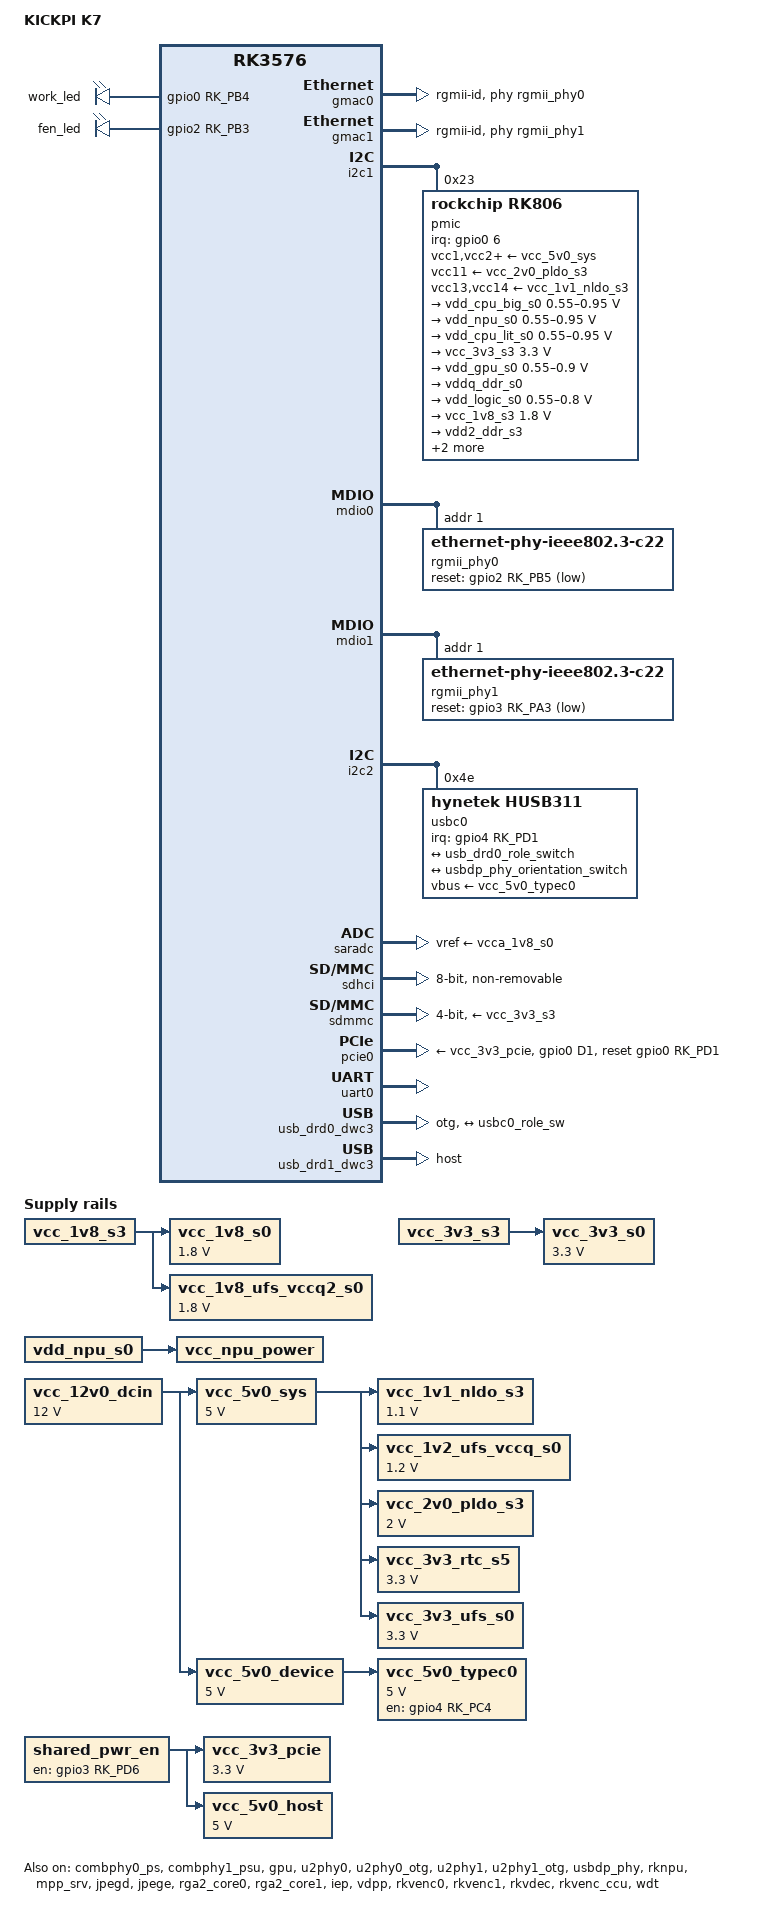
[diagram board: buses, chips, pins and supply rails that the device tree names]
// SPDX-License-Identifier: (GPL-2.0+ OR MIT)
/*
 * Copyright (c) 2024 Rockchip Electronics Co., Ltd.
 *
 */

/dts-v1/;

#include <dt-bindings/gpio/gpio.h>
#include <dt-bindings/leds/common.h>
#include <dt-bindings/pinctrl/rockchip.h>
#include <dt-bindings/pwm/pwm.h>
#include <dt-bindings/soc/rockchip,vop2.h>
#include <dt-bindings/usb/pd.h>
#include "rk3576.dtsi"
#include "rk3576-vpu-npu.dtsi"

/ {
	model = "KICKPI K7";
	compatible = "kickpi,k7", "rockchip,rk3576";

	aliases {
		ethernet0 = &gmac0;
		ethernet1 = &gmac1;
	};

	chosen {
		stdout-path = "serial0:1500000n8";
	};

	leds: leds {
		compatible = "gpio-leds";

		work_led: work-led {
			gpios = <&gpio0 RK_PB4 GPIO_ACTIVE_HIGH>;
			linux,default-trigger = "heartbeat";
		};

		fen_led: fen-led {
			gpios = <&gpio2 RK_PB3 GPIO_ACTIVE_HIGH>;
			default-state = "on";
		};
	};
	
	/* reserved-memory {
		#address-cells = <2>;
		#size-cells = <2>;
		ranges;
		ramoops: ramoops@40118000 {
		    compatible = "ramoops";
		    reg = <0 0x40118000 0 0xd8000>;
		    console-size = <0x80000>;
		    ftrace-size = <0x00000>;
		    pmsg-size = <0x30000>;
            record-size = <0x14000>;
		};
	}; */

	vcc_12v0_dcin: regulator-vcc-12v0-dcin {
		compatible = "regulator-fixed";
		regulator-name = "vcc_12v0_dcin";
		regulator-always-on;
		regulator-boot-on;
		regulator-min-microvolt = <12000000>;
		regulator-max-microvolt = <12000000>;
	};

	vcc_1v1_nldo_s3: regulator-vcc-1v1-nldo-s3 {
		compatible = "regulator-fixed";
		regulator-name = "vcc_1v1_nldo_s3";
		regulator-boot-on;
		regulator-always-on;
		regulator-min-microvolt = <1100000>;
		regulator-max-microvolt = <1100000>;
		vin-supply = <&vcc_5v0_sys>;
	};

	vcc_1v2_ufs_vccq_s0: regulator-vcc-1v2-ufs-vccq-s0 {
		compatible = "regulator-fixed";
		regulator-name = "vcc_1v2_ufs_vccq_s0";
		regulator-boot-on;
		regulator-always-on;
		regulator-min-microvolt = <1200000>;
		regulator-max-microvolt = <1200000>;
		vin-supply = <&vcc_5v0_sys>;
	};

	vcc_1v8_s0: regulator-vcc-1v8-s0 {
		compatible = "regulator-fixed";
		regulator-name = "vcc_1v8_s0";
		regulator-boot-on;
		regulator-always-on;
		regulator-min-microvolt = <1800000>;
		regulator-max-microvolt = <1800000>;
		vin-supply = <&vcc_1v8_s3>;
	};

	vcc_1v8_ufs_vccq2_s0: regulator-vcc-1v8-ufs-vccq2-s0 {
		compatible = "regulator-fixed";
		regulator-name = "vcc_1v8_ufs_vccq2_s0";
		regulator-boot-on;
		regulator-always-on;
		regulator-min-microvolt = <1800000>;
		regulator-max-microvolt = <1800000>;
		vin-supply = <&vcc_1v8_s3>;
	};

	vcc_2v0_pldo_s3: regulator-vcc-2v0-pldo-s3 {
		compatible = "regulator-fixed";
		regulator-name = "vcc_2v0_pldo_s3";
		regulator-boot-on;
		regulator-always-on;
		regulator-min-microvolt = <2000000>;
		regulator-max-microvolt = <2000000>;
		vin-supply = <&vcc_5v0_sys>;
	};
	
	vcc_3v3_pcie: regulator-vcc-3v3-pcie {
		compatible = "regulator-fixed";
		regulator-name = "vcc_3v3_pcie";
		regulator-always-on;
		regulator-boot-on;
		regulator-min-microvolt = <3300000>;
		regulator-max-microvolt = <3300000>;
		startup-delay-us = <10000>;
		vin-supply = <&shared_pwr_en>;
	};

	vcc_3v3_rtc_s5: regulator-vcc-3v3-rtc-s5 {
		compatible = "regulator-fixed";
		regulator-name = "vcc_3v3_rtc_s5";
		regulator-boot-on;
		regulator-always-on;
		regulator-min-microvolt = <3300000>;
		regulator-max-microvolt = <3300000>;
		vin-supply = <&vcc_5v0_sys>;
	};

	vcc_3v3_s0: regulator-vcc-3v3-s0 {
		compatible = "regulator-fixed";
		regulator-name = "vcc_3v3_s0";
		regulator-boot-on;
		regulator-always-on;
		regulator-min-microvolt = <3300000>;
		regulator-max-microvolt = <3300000>;
		vin-supply = <&vcc_3v3_s3>;
	};

	vcc_5v0_sys: regulator-vcc-5v0-sys {
		compatible = "regulator-fixed";
		regulator-name = "vcc_5v0_sys";
		regulator-always-on;
		regulator-boot-on;
		regulator-min-microvolt = <5000000>;
		regulator-max-microvolt = <5000000>;
		vin-supply = <&vcc_12v0_dcin>;
	};

	vcc_5v0_device: regulator-vcc-5v0-device {
		compatible = "regulator-fixed";
		regulator-name = "vcc_5v0_device";
		regulator-always-on;
		regulator-boot-on;
		regulator-min-microvolt = <5000000>;
		regulator-max-microvolt = <5000000>;
		vin-supply = <&vcc_12v0_dcin>;
	};

	shared_pwr_en: regulator-shared-pwr-en {
		compatible = "regulator-fixed";
	    regulator-name = "shared_pwr_en";
	    pinctrl-names = "default";
	    pinctrl-0 = <&usb_host_pwren>;
	    enable-active-high;
	    gpios = <&gpio3 RK_PD6 GPIO_ACTIVE_HIGH>;
	    regulator-always-on;
	    regulator-boot-on;
    };

	vcc_5v0_typec0: regulator-vcc-5v0-typec0 {
		compatible = "regulator-fixed";
		enable-active-high;
		gpios = <&gpio4 RK_PC4 GPIO_ACTIVE_HIGH>;
		pinctrl-names = "default";
		pinctrl-0 = <&usb_otg0_pwren>;
		regulator-name = "vcc_5v0_typec0";
		regulator-min-microvolt = <5000000>;
		regulator-max-microvolt = <5000000>;
		vin-supply = <&vcc_5v0_device>;
	};

	vcc_5v0_host: regulator-vcc-5v0-host {
		compatible = "regulator-fixed";
		regulator-name = "vcc_5v0_host";
		regulator-min-microvolt = <5000000>;
		regulator-max-microvolt = <5000000>;
		regulator-always-on;
		regulator-boot-on;
		vin-supply = <&shared_pwr_en>;
	};

	vcc_3v3_ufs_s0: regulator-vcc-ufs-s0 {
		compatible = "regulator-fixed";
		regulator-name = "vcc_3v3_ufs_s0";
		regulator-boot-on;
		regulator-always-on;
		regulator-min-microvolt = <3300000>;
		regulator-max-microvolt = <3300000>;
		vin-supply = <&vcc_5v0_sys>;
	};
	
	vcc_npu_power: regulator-vcc-npu-power {
		compatible = "regulator-fixed";
		regulator-name = "vcc_npu_power";
		regulator-boot-on;
		regulator-always-on;
		regulator-fixed-microvolt = <950000>;
		vin-supply = <&vdd_npu_s0>;
	};
};

&combphy0_ps {
	status = "okay";
};

&combphy1_psu {
	status = "okay";
};

&cpu_b0 {
	cpu-supply = <&vdd_cpu_big_s0>;
};

&cpu_b1 {
	cpu-supply = <&vdd_cpu_big_s0>;
};

&cpu_b2 {
	cpu-supply = <&vdd_cpu_big_s0>;
};

&cpu_b3 {
	cpu-supply = <&vdd_cpu_big_s0>;
};

&cpu_l0 {
	cpu-supply = <&vdd_cpu_lit_s0>;
};

&cpu_l1 {
	cpu-supply = <&vdd_cpu_lit_s0>;
};

&cpu_l2 {
	cpu-supply = <&vdd_cpu_lit_s0>;
};

&cpu_l3 {
	cpu-supply = <&vdd_cpu_lit_s0>;
};

&gmac0 {
	phy-mode = "rgmii-id";
	clock_in_out = "output";
	phy-handle = <&rgmii_phy0>;
	pinctrl-names = "default";
	pinctrl-0 = <&eth0m0_miim
		     &eth0m0_tx_bus2
		     &eth0m0_rx_bus2
		     &eth0m0_rgmii_clk
		     &eth0m0_rgmii_bus>;
	status = "okay";
};

&gmac1 {
	phy-mode = "rgmii-id";
	clock_in_out = "output";
	phy-handle = <&rgmii_phy1>;
	pinctrl-names = "default";
	pinctrl-0 = <&eth1m0_miim
		     &eth1m0_tx_bus2
		     &eth1m0_rx_bus2
		     &eth1m0_rgmii_clk
		     &eth1m0_rgmii_bus>;
	status = "okay";
};

&gpu {
	mali-supply = <&vdd_gpu_s0>;
	status = "okay";
};

&i2c1 {
	status = "okay";

	pmic@23 {
		compatible = "rockchip,rk806";
		reg = <0x23>;

		interrupt-parent = <&gpio0>;
		interrupts = <6 IRQ_TYPE_LEVEL_LOW>;

		pinctrl-names = "default";
		pinctrl-0 = <&pmic_pins>, <&rk806_dvs1_null>,
			    <&rk806_dvs2_null>, <&rk806_dvs3_null>;

		system-power-controller;

		vcc1-supply = <&vcc_5v0_sys>;
		vcc2-supply = <&vcc_5v0_sys>;
		vcc3-supply = <&vcc_5v0_sys>;
		vcc4-supply = <&vcc_5v0_sys>;
		vcc5-supply = <&vcc_5v0_sys>;
		vcc6-supply = <&vcc_5v0_sys>;
		vcc7-supply = <&vcc_5v0_sys>;
		vcc8-supply = <&vcc_5v0_sys>;
		vcc9-supply = <&vcc_5v0_sys>;
		vcc10-supply = <&vcc_5v0_sys>;
		vcc11-supply = <&vcc_2v0_pldo_s3>;
		vcc12-supply = <&vcc_5v0_sys>;
		vcc13-supply = <&vcc_1v1_nldo_s3>;
		vcc14-supply = <&vcc_1v1_nldo_s3>;
		vcca-supply = <&vcc_5v0_sys>;

		gpio-controller;
		#gpio-cells = <2>;

		rk806_dvs1_null: dvs1-null-pins {
			pins = "gpio_pwrctrl1";
			function = "pin_fun0";
		};

		rk806_dvs2_null: dvs2-null-pins {
			pins = "gpio_pwrctrl2";
			function = "pin_fun0";
		};

		rk806_dvs3_null: dvs3-null-pins {
			pins = "gpio_pwrctrl3";
			function = "pin_fun0";
		};

		rk806_dvs1_slp: dvs1-slp-pins {
			pins = "gpio_pwrctrl1";
			function = "pin_fun1";
		};

		rk806_dvs1_pwrdn: dvs1-pwrdn-pins {
			pins = "gpio_pwrctrl1";
			function = "pin_fun2";
		};

		rk806_dvs1_rst: dvs1-rst-pins {
			pins = "gpio_pwrctrl1";
			function = "pin_fun3";
		};

		rk806_dvs2_slp: dvs2-slp-pins {
			pins = "gpio_pwrctrl2";
			function = "pin_fun1";
		};

		rk806_dvs2_pwrdn: dvs2-pwrdn-pins {
			pins = "gpio_pwrctrl2";
			function = "pin_fun2";
		};

		rk806_dvs2_rst: dvs2-rst-pins {
			pins = "gpio_pwrctrl2";
			function = "pin_fun3";
		};

		rk806_dvs2_dvs: dvs2-dvs-pins {
			pins = "gpio_pwrctrl2";
			function = "pin_fun4";
		};

		rk806_dvs2_gpio: dvs2-gpio-pins {
			pins = "gpio_pwrctrl2";
			function = "pin_fun5";
		};

		rk806_dvs3_slp: dvs3-slp-pins {
			pins = "gpio_pwrctrl3";
			function = "pin_fun1";
		};

		rk806_dvs3_pwrdn: dvs3-pwrdn-pins {
			pins = "gpio_pwrctrl3";
			function = "pin_fun2";
		};

		rk806_dvs3_rst: dvs3-rst-pins {
			pins = "gpio_pwrctrl3";
			function = "pin_fun3";
		};

		rk806_dvs3_dvs: dvs3-dvs-pins {
			pins = "gpio_pwrctrl3";
			function = "pin_fun4";
		};

		rk806_dvs3_gpio: dvs3-gpio-pins {
			pins = "gpio_pwrctrl3";
			function = "pin_fun5";
		};

		regulators {
			vdd_cpu_big_s0: dcdc-reg1 {
				regulator-always-on;
				regulator-boot-on;
				regulator-min-microvolt = <550000>;
				regulator-max-microvolt = <950000>;
				regulator-ramp-delay = <12500>;
				regulator-name = "vdd_cpu_big_s0";
				regulator-enable-ramp-delay = <400>;
				regulator-state-mem {
					regulator-off-in-suspend;
				};
			};

			vdd_npu_s0: dcdc-reg2 {
				regulator-boot-on;
				regulator-min-microvolt = <550000>;
				regulator-max-microvolt = <950000>;
				regulator-ramp-delay = <12500>;
				regulator-name = "vdd_npu_s0";
				regulator-enable-ramp-delay = <400>;
				regulator-state-mem {
					regulator-off-in-suspend;
				};
			};

			vdd_cpu_lit_s0: dcdc-reg3 {
				regulator-always-on;
				regulator-boot-on;
				regulator-min-microvolt = <550000>;
				regulator-max-microvolt = <950000>;
				regulator-ramp-delay = <12500>;
				regulator-name = "vdd_cpu_lit_s0";
				regulator-state-mem {
					regulator-off-in-suspend;
					regulator-suspend-microvolt = <750000>;
				};
			};

			vcc_3v3_s3: dcdc-reg4 {
				regulator-always-on;
				regulator-boot-on;
				regulator-min-microvolt = <3300000>;
				regulator-max-microvolt = <3300000>;
				regulator-name = "vcc_3v3_s3";
				regulator-state-mem {
					regulator-on-in-suspend;
					regulator-suspend-microvolt = <3300000>;
				};
			};

			vdd_gpu_s0: dcdc-reg5 {
				regulator-boot-on;
				regulator-min-microvolt = <550000>;
				regulator-max-microvolt = <900000>;
				regulator-ramp-delay = <12500>;
				regulator-name = "vdd_gpu_s0";
				regulator-enable-ramp-delay = <400>;
				regulator-state-mem {
					regulator-off-in-suspend;
					regulator-suspend-microvolt = <850000>;
				};
			};

			vddq_ddr_s0: dcdc-reg6 {
				regulator-always-on;
				regulator-boot-on;
				regulator-name = "vddq_ddr_s0";
				regulator-state-mem {
					regulator-off-in-suspend;
				};
			};

			vdd_logic_s0: dcdc-reg7 {
				regulator-always-on;
				regulator-boot-on;
				regulator-min-microvolt = <550000>;
				regulator-max-microvolt = <800000>;
				regulator-name = "vdd_logic_s0";
				regulator-state-mem {
					regulator-off-in-suspend;
				};
			};

			vcc_1v8_s3: dcdc-reg8 {
				regulator-always-on;
				regulator-boot-on;
				regulator-min-microvolt = <1800000>;
				regulator-max-microvolt = <1800000>;
				regulator-name = "vcc_1v8_s3";
				regulator-state-mem {
					regulator-on-in-suspend;
					regulator-suspend-microvolt = <1800000>;
				};
			};

			vdd2_ddr_s3: dcdc-reg9 {
				regulator-always-on;
				regulator-boot-on;
				regulator-name = "vdd2_ddr_s3";
				regulator-state-mem {
					regulator-on-in-suspend;
				};
			};

			vdd_ddr_s0: dcdc-reg10 {
				regulator-always-on;
				regulator-boot-on;
				regulator-min-microvolt = <550000>;
				regulator-max-microvolt = <1200000>;
				regulator-name = "vdd_ddr_s0";
				regulator-state-mem {
					regulator-off-in-suspend;
				};
			};

			vcca_1v8_s0: pldo-reg1 {
				regulator-always-on;
				regulator-boot-on;
				regulator-min-microvolt = <1800000>;
				regulator-max-microvolt = <1800000>;
				regulator-name = "vcca_1v8_s0";
				regulator-state-mem {
					regulator-off-in-suspend;
				};
			};

			vcca1v8_pldo2_s0: pldo-reg2 {
				regulator-always-on;
				regulator-boot-on;
				regulator-min-microvolt = <1800000>;
				regulator-max-microvolt = <1800000>;
				regulator-name = "vcca1v8_pldo2_s0";
				regulator-state-mem {
					regulator-off-in-suspend;
				};
			};

			vdda_1v2_s0: pldo-reg3 {
				regulator-always-on;
				regulator-boot-on;
				regulator-min-microvolt = <1200000>;
				regulator-max-microvolt = <1200000>;
				regulator-name = "vdda_1v2_s0";
				regulator-state-mem {
					regulator-off-in-suspend;
				};
			};

			vcca_3v3_s0: pldo-reg4 {
				regulator-always-on;
				regulator-boot-on;
				regulator-min-microvolt = <3300000>;
				regulator-max-microvolt = <3300000>;
				regulator-name = "vcca_3v3_s0";
				regulator-state-mem {
					regulator-off-in-suspend;
				};
			};

			vccio_sd_s0: pldo-reg5 {
				regulator-always-on;
				regulator-boot-on;
				regulator-min-microvolt = <1800000>;
				regulator-max-microvolt = <3300000>;
				regulator-name = "vccio_sd_s0";
				regulator-state-mem {
					regulator-off-in-suspend;
				};
			};

			vcca1v8_pldo6_s3: pldo-reg6 {
				regulator-always-on;
				regulator-boot-on;
				regulator-min-microvolt = <1800000>;
				regulator-max-microvolt = <1800000>;
				regulator-name = "vcca1v8_pldo6_s3";
				regulator-state-mem {
					regulator-on-in-suspend;
					regulator-suspend-microvolt = <1800000>;
				};
			};

			vdd_0v75_s3: nldo-reg1 {
				regulator-always-on;
				regulator-boot-on;
				regulator-min-microvolt = <750000>;
				regulator-max-microvolt = <750000>;
				regulator-name = "vdd_0v75_s3";
				regulator-state-mem {
					regulator-on-in-suspend;
					regulator-suspend-microvolt = <750000>;
				};
			};

			vdda_ddr_pll_s0: nldo-reg2 {
				regulator-always-on;
				regulator-boot-on;
				regulator-min-microvolt = <850000>;
				regulator-max-microvolt = <850000>;
				regulator-name = "vdda_ddr_pll_s0";
				regulator-state-mem {
					regulator-off-in-suspend;
				};
			};

			vdda0v75_hdmi_s0: nldo-reg3 {
				regulator-always-on;
				regulator-boot-on;
				regulator-min-microvolt = <837500>;
				regulator-max-microvolt = <837500>;
				regulator-name = "vdda0v75_hdmi_s0";
				regulator-state-mem {
					regulator-off-in-suspend;
				};
			};

			vdda_0v85_s0: nldo-reg4 {
				regulator-always-on;
				regulator-boot-on;
				regulator-min-microvolt = <850000>;
				regulator-max-microvolt = <850000>;
				regulator-name = "vdda_0v85_s0";
				regulator-state-mem {
					regulator-off-in-suspend;
				};
			};

			vdda_0v75_s0: nldo-reg5 {
				regulator-always-on;
				regulator-boot-on;
				regulator-min-microvolt = <750000>;
				regulator-max-microvolt = <750000>;
				regulator-name = "vdda_0v75_s0";
				regulator-state-mem {
					regulator-off-in-suspend;
				};
			};
		};
	};
};

&mdio0 {
	rgmii_phy0: phy@1 {
		compatible = "ethernet-phy-ieee802.3-c22";
		reg = <0x1>;
		pinctrl-names = "default";
		pinctrl-0 = <&gmac0_rst>;
		reset-assert-us = <20000>;
		reset-deassert-us = <100000>;
		reset-gpios = <&gpio2 RK_PB5 GPIO_ACTIVE_LOW>;
	};
};

&mdio1 {
	rgmii_phy1: phy@1 {
		compatible = "ethernet-phy-ieee802.3-c22";
		reg = <0x1>;
		pinctrl-names = "default";
		pinctrl-0 = <&gmac1_rst>;
		reset-assert-us = <20000>;
		reset-deassert-us = <100000>;
		reset-gpios = <&gpio3 RK_PA3 GPIO_ACTIVE_LOW>;
	};
};

&i2c2 {
	status= "okay";
	
	usbc0: husb311@4e {
		compatible = "hynetek,husb311";
		reg = <0x4e>;
		interrupt-parent = <&gpio4>;
		interrupts = <RK_PD1 IRQ_TYPE_LEVEL_LOW>;
		pinctrl-names = "default";
		pinctrl-0 = <&usbc0_int>;
		vbus-supply = <&vcc_5v0_typec0>;
		disable-dp-alt-mode;
		status = "okay";
		
		port {
			usbc0_role_sw: endpoint {
				remote-endpoint = <&usb_drd0_role_switch>;
			};
		};
		
		usb_con: connector {
			compatible = "usb-c-connector";
			label = "USB-C";
			data-role = "dual";
			power-role = "dual";
			source-pdos = <PDO_FIXED(5000, 2000, PDO_FIXED_USB_COMM)>;
			sink-pdos = <PDO_FIXED(5000, 2000, PDO_FIXED_USB_COMM)>;
			op-sink-microwatt = <10000000>;
			
			ports {
				#address-cells = <1>;
				#size-cells = <0>;
				port@0 {
					reg = <0>;
					usbc0_orien_sw: endpoint {
						remote-endpoint = <&usbdp_phy_orientation_switch>;
					};
				};
			};
		};
	};
};

&pinctrl {
	gmac {
		gmac0_rst: gmac0-rst {
			rockchip,pins = <2 RK_PB5 RK_FUNC_GPIO &pcfg_pull_none>;
		};
		gmac1_rst: gmac1-rst {
			rockchip,pins = <3 RK_PA3 RK_FUNC_GPIO &pcfg_pull_none>;
		};
	};
	
	pcie {
		pcie_reset: pcie-reset {
			rockchip,pins = <0 RK_PD1 RK_FUNC_GPIO &pcfg_pull_none>;
		};
	};
	
	usb {
		usbc0_int: usbc0-int {
			rockchip,pins = <4 RK_PD1 RK_FUNC_GPIO &pcfg_pull_up>;
		};
		
		usb_host_pwren: usb-host-pwren {
			rockchip,pins = <3 RK_PD6 RK_FUNC_GPIO &pcfg_pull_none>;
		};
		
		usb_otg0_pwren: usb-otg0-pwren {
			rockchip,pins = <4 RK_PC4 RK_FUNC_GPIO &pcfg_pull_none>;
		};
	};
};

&saradc {
	vref-supply = <&vcca_1v8_s0>;
	status = "okay";
};

&sdhci {
	bus-width = <8>;
	full-pwr-cycle-in-suspend;
	max-frequency = <200000000>;
	mmc-hs400-1_8v;
	mmc-hs400-enhanced-strobe;
	no-sdio;
	no-sd;
	non-removable;
	status = "okay";
};

&sdmmc {
	bus-width = <4>;
	cap-mmc-highspeed;
	cap-sd-highspeed;
	disable-wp;
	max-frequency = <200000000>;
	no-sdio;
	no-mmc;
	sd-uhs-sdr104;
	vmmc-supply = <&vcc_3v3_s3>;
	vqmmc-supply = <&vccio_sd_s0>;
	status = "okay";
};

&pcie0 {
	pinctrl-names = "default";
	pinctrl-0 = <&pcie_reset>;
	reset-gpios = <&gpio0 RK_PD1 GPIO_ACTIVE_HIGH>;
	vpcie3v3-supply = <&vcc_3v3_pcie>;
	status = "okay";
};

&uart0 {
	pinctrl-0 = <&uart0m0_xfer>;
	status = "okay";
};

&u2phy0 {
	status = "okay";
};

&u2phy0_otg {
	rockchip,type-vbus-de;
	status = "okay";
};

&u2phy1 {
	status = "okay";
};

&u2phy1_otg {
	phy-supply = <&vcc_5v0_host>;
	status = "okay";
};

&usbdp_phy {
	orientation-switch;
	force-usb-mode;
	status = "okay";
	port {
		#address-cells = <1>;
		#size-cells = <0>;
		usbdp_phy_orientation_switch: endpoint@0 {
			reg = <0>;
			remote-endpoint = <&usbc0_orien_sw>;
		};
	};
};

&usb_drd0_dwc3 {
	dr_mode = "otg";
	maximum-speed = "super-speed";
	usb-role-switch;
	extcon = <&usbc0>;
	snps,dis_u2_susphy_quirk;
	snps,dis_enblslpm_quirk;
	status = "okay";
	
	port {
		#address-cells = <1>;
		#size-cells = <0>;
		usb_drd0_role_switch: endpoint@0 {
			reg = <0>;
			remote-endpoint = <&usbc0_role_sw>;
		};
	};
};

&usb_drd1_dwc3 {
	dr_mode = "host";
	maximum-speed = "super-speed";
	snps,dis_u2_susphy_quirk;
	snps,dis_enblslpm_quirk;
	status = "okay";
};

&rknpu {
	rknpu-supply = <&vcc_npu_power>;
	status = "okay";
};

&rknpu_mmu {
	status = "okay";
};

&mpp_srv {
	status = "okay";
};

&jpegd {
	status = "okay";
};
&jpege {
	status = "okay";
};
&jpeg_mmu {
	status = "okay";
};
&rga2_core0 {
	status = "okay";
};
&rga2_core0_mmu {
	status = "okay";
};
&rga2_core1 {
	status = "okay";
};
&rga2_core1_mmu {
	status = "okay";
};
&iep {
	status = "okay";
};
&iep_mmu {
	status = "okay";
};
&vdpp {
	status = "okay";
};
&rkvenc0 {
	status = "okay";
};
&rkvenc0_mmu {
	status = "okay";
};
&rkvenc1 {
	status = "okay";
};
&rkvenc1_mmu {
	status = "okay";
};
&rkvdec {
	status = "okay";
};
&rkvdec_mmu {
	status = "okay";
};
&rkvenc_ccu {
	status = "okay";
};

&wdt {
	status = "okay";
};
